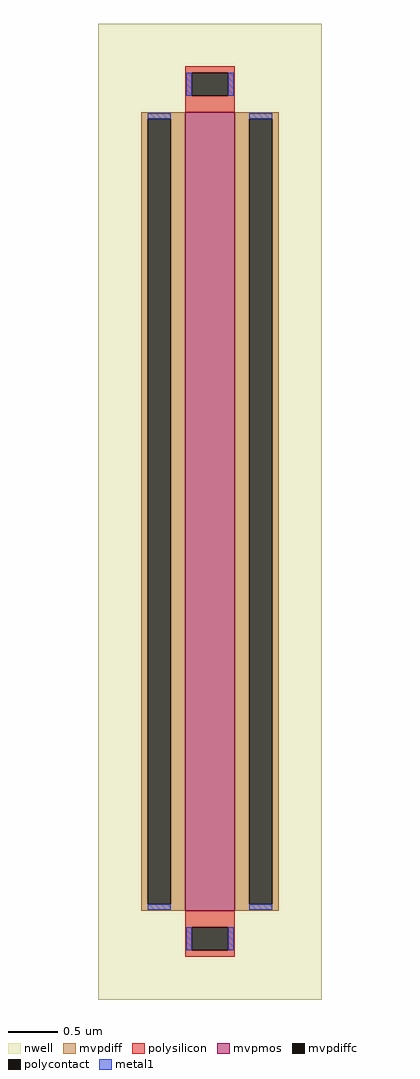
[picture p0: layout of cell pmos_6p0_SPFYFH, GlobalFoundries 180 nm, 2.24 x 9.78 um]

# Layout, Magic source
magic
tech gf180mcuC
magscale 1 10
<< nwell >>
rect -224 -978 224 978
<< mvpmos >>
rect -50 -800 50 800
<< mvpdiff >>
rect -138 787 -50 800
rect -138 -787 -125 787
rect -79 -787 -50 787
rect -138 -800 -50 -787
rect 50 787 138 800
rect 50 -787 79 787
rect 125 -787 138 787
rect 50 -800 138 -787
<< mvpdiffc >>
rect -125 -787 -79 787
rect 79 -787 125 787
<< polysilicon >>
rect -50 879 50 892
rect -50 833 -37 879
rect 37 833 50 879
rect -50 800 50 833
rect -50 -833 50 -800
rect -50 -879 -37 -833
rect 37 -879 50 -833
rect -50 -892 50 -879
<< polycontact >>
rect -37 833 37 879
rect -37 -879 37 -833
<< metal1 >>
rect -48 833 -37 879
rect 37 833 48 879
rect -125 787 -79 798
rect -125 -798 -79 -787
rect 79 787 125 798
rect 79 -798 125 -787
rect -48 -879 -37 -833
rect 37 -879 48 -833
<< properties >>
string gencell pmos_6p0
string library gf180mcu
string parameters w 8 l 0.5 m 1 nf 1 diffcov 100 polycov 100 guard 0 glc 0 grc 0 gtc 0 gbc 0 tbcov 100 rlcov 100 topc 1 botc 1 poverlap 0 doverlap 1 lmin 0.5 wmin 0.3 full_metal 0 compatible {pmos_3p3 pmos_6p0}
<< end >>
